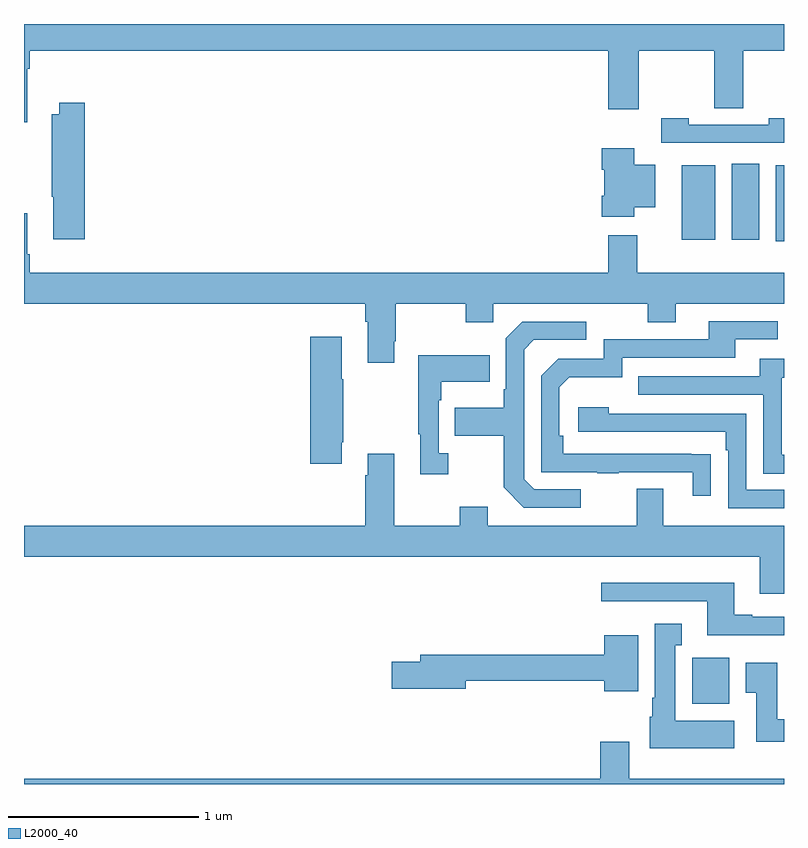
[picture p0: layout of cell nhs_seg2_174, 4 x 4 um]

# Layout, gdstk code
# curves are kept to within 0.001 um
import gdstk
lib = gdstk.Library(unit=1e-6, precision=1e-09)
def R(c, l, rs):  # rectangles x0, y0, x1, y1
    for r in rs: c.add(gdstk.rectangle(r[:2], r[2:], *l))
def P(c, l, *ps):  # polygons
    for p in ps: c.add(gdstk.Polygon(p, *l))
L2000_40 = (2000, 40)

nhs_seg2_174 = lib.new_cell('nhs_seg2_174')
R(nhs_seg2_174, L2000_40, [(122.516,620.222,122.713,620.464), (122.957,622.656,123,623.056), (122.462,622.664,122.638,623.056), (122.726,622.664,122.869,623.065)])
P(nhs_seg2_174, L2000_40, [(119.017,623.564),(119.03,623.564),(119.03,623.66),(122.075,623.66),(122.075,623.352),(122.235,623.352),(122.235,623.66),(122.632,623.66),(122.632,623.356),(122.786,623.356),(122.786,623.66),(123,623.66),(123,623.8),(119,623.8),(119,623.283),(119.017,623.283)],
  [(119.321,623.386),(119.186,623.386),(119.186,623.326),(119.146,623.326),(119.146,622.891),(119.153,622.891),(119.153,622.668),(119.321,622.668)],
  [(123,623.304),(122.919,623.304),(122.919,623.271),(122.499,623.271),(122.499,623.304),(122.355,623.304),(122.355,623.175),(123,623.175)],
  [(122.212,622.835),(122.323,622.835),(122.323,623.059),(122.212,623.059),(122.212,623.146),(122.042,623.146),(122.042,623.033),(122.054,623.033),(122.054,622.897),(122.042,622.897),(122.042,622.785),(122.212,622.785)],
  [(120.949,622.129),(120.957,622.129),(120.957,622.328),(121.324,622.328),(121.324,622.229),(121.47,622.229),(121.47,622.328),(122.284,622.328),(122.284,622.229),(122.431,622.229),(122.431,622.328),(123,622.328),(123,622.492),(122.227,622.492),(122.227,622.687),(122.075,622.687),(122.075,622.492),(119.03,622.492),(119.03,622.588),(119.017,622.588),(119.017,622.804),(119,622.804),(119,622.328),(120.797,622.328),(120.797,622.232),(120.809,622.232),(120.809,622.017),(120.949,622.017)],
  [(122.615,621.536),(121.838,621.537),(121.838,621.634),(121.818,621.634),(121.818,621.888),(121.871,621.941),(122.148,621.941),(122.148,622.044),(122.743,622.044),(122.743,622.14),(122.968,622.14),(122.968,622.236),(122.603,622.236),(122.603,622.14),(122.052,622.14),(122.052,622.038),(121.812,622.038),(121.722,621.948),(121.722,621.441),(122.017,621.441),(122.017,621.436),(122.129,621.436),(122.129,621.441),(122.519,621.441),(122.519,621.318),(122.615,621.318)],
  [(121.93,621.351),(121.686,621.351),(121.632,621.405),(121.632,622.086),(121.683,622.137),(121.96,622.137),(121.96,622.233),(121.623,622.233),(121.536,622.146),(121.536,621.877),(121.524,621.877),(121.524,621.781),(121.267,621.781),(121.267,621.634),(121.524,621.634),(121.524,621.361),(121.629,621.255),(121.93,621.255)],
  [(120.673,621.598),(120.681,621.598),(120.681,621.929),(120.673,621.929),(120.673,622.153),(120.506,622.153),(120.506,621.486),(120.673,621.486)],
  [(121.234,621.542),(121.182,621.542),(121.182,621.821),(121.195,621.821),(121.195,621.917),(121.451,621.917),(121.451,622.057),(121.074,622.057),(121.074,621.641),(121.085,621.641),(121.085,621.429),(121.234,621.429)],
  [(123,621.534),(122.988,621.534),(122.988,621.939),(123,621.939),(123,622.039),(122.873,622.039),(122.873,621.945),(122.233,621.945),(122.233,621.849),(122.892,621.849),(122.892,621.433),(123,621.433)],
  [(123,621.348),(122.802,621.348),(122.802,621.75),(122.078,621.75),(122.078,621.784),(121.917,621.784),(121.917,621.654),(122.693,621.654),(122.693,621.557),(122.706,621.557),(122.706,621.252),(123,621.252)],
  [(123,621.16),(122.365,621.16),(122.365,621.355),(122.225,621.355),(122.225,621.16),(121.441,621.16),(121.441,621.259),(121.294,621.259),(121.294,621.16),(120.949,621.16),(120.949,621.538),(120.809,621.538),(120.809,621.425),(120.797,621.425),(120.797,621.16),(119,621.16),(119,620.996),(122.873,620.996),(122.873,620.802),(123,620.802)],
  [(123,620.679),(122.833,620.679),(122.833,620.692),(122.737,620.692),(122.737,620.86),(122.037,620.86),(122.037,620.763),(122.597,620.763),(122.597,620.582),(123,620.582)],
  [(122.737,620.134),(122.428,620.134),(122.428,620.531),(122.461,620.531),(122.461,620.644),(122.321,620.644),(122.321,620.254),(122.306,620.254),(122.306,620.154),(122.294,620.154),(122.294,619.988),(122.737,619.988)],
  [(122.233,620.584),(122.054,620.584),(122.054,620.48),(121.085,620.48),(121.085,620.444),(120.936,620.444),(120.936,620.302),(121.324,620.302),(121.324,620.344),(122.054,620.344),(122.054,620.288),(122.233,620.288)],
  [(123,620.14),(122.965,620.14),(122.965,620.437),(122.798,620.437),(122.798,620.281),(122.855,620.281),(122.855,620.022),(123,620.022)],
  [(123,619.828),(122.185,619.828),(122.185,620.023),(122.033,620.023),(122.033,619.828),(119,619.828),(119,619.8),(123,619.8)])

lib.write_gds('nhs_seg2_174.gds')
